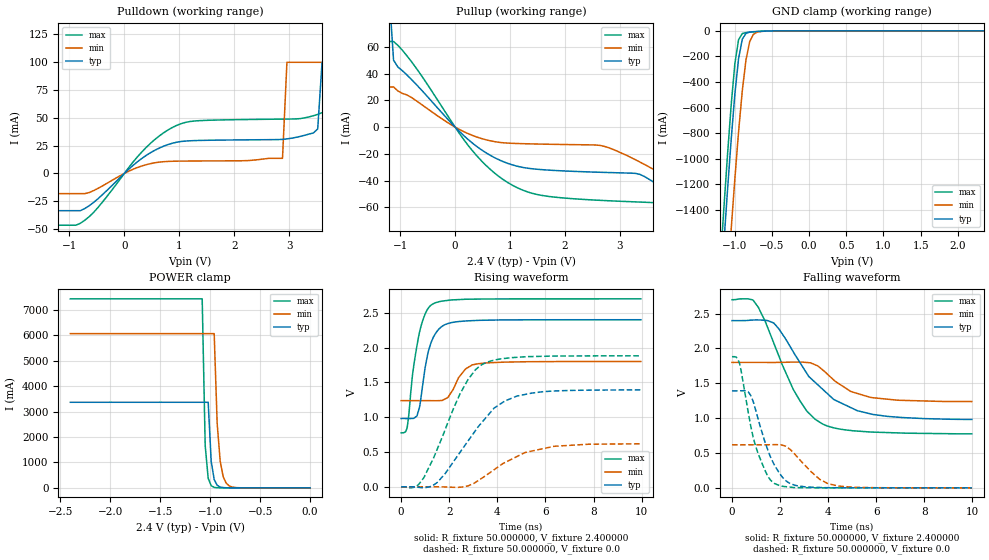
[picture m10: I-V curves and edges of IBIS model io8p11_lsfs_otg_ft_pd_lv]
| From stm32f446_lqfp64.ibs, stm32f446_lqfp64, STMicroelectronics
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|   Model io8p11_lsfs_otg_ft_pd_lv
[Model]  io8p11_lsfs_otg_ft_pd_lv
Model_type I/O
Polarity   Non-Inverting
Enable   Active-Low
Vinl =   0.720000V
Vinh =   1.680000V
Vmeas =  1.200000V
Cref =   30.000000pF
Rref =   100.000000M
Vref =   0.0V
C_comp   7.971100pF   7.737700pF   8.264100pF
[Temperature Range]   25.000000   0.125000k   -40.000000
[Pullup Reference]   2.400000V   1.800000V   2.700000V
[Pulldown Reference]   0.0V   0.0V   0.0V
[POWER Clamp Reference]   2.400000V   1.800000V   2.700000V
[GND Clamp Reference]   0.0V   0.0V   0.0V
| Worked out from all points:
|   slope of the pulldown table from 0 to 0.36 V, typ, clamps not added: 24.1 ohm
|   slope of the pullup table from 0 to 0.36 V, typ, clamps not added: 26.8 ohm
|   GND clamp passes 1 mA (typ) near -0.52 V on its own axis
|   POWER clamp passes 1 mA (typ) near -0.81 V on its own axis
|   rising waveform, R_fixture 50.000000, V_fixture 2.400000: 20-80 % time 481ps typ, 591ps min, 481ps max; typ from 0.981 V to 2.4 V
|   rising waveform, R_fixture 50.000000, V_fixture 0.0: 20-80 % time 1.81ns typ, 1.82ns min, 1.43ns max; typ from 0 V to 1.39 V
|   falling waveform, R_fixture 50.000000, V_fixture 2.400000: 20-80 % time 1.98ns typ, 1.46ns min, 1.53ns max; typ from 2.4 V to 0.981 V
|   falling waveform, R_fixture 50.000000, V_fixture 0.0: 20-80 % time 862ps typ, 1.06ns min, 753ps max; typ from 1.39 V to 0 V
[Pulldown]
|Voltage   I(typ)   I(min)   I(max)
-2.4V     -33.44mA   -18.12mA   -46.52mA
-800mV    -33.44mA   -18.12mA   -44.78mA
1.04V     28.81mA    11.14mA    44.91mA
2.88V     30.7mA     13.64mA    48.89mA
2.96V     31.11mA    100mA      48.94mA
3.52V     40mA       100mA      53.15mA
3.6V      100mA      100mA      54.65mA
3.92V     100mA      100mA      60mA
4V        100mA      100mA      100mA
4.4V      100mA      100mA      100mA
4.48V     100mA      100mA      1A
4.8V      100mA      100mA      1A
[Pullup]
|Voltage   I(typ)   I(min)   I(max)
-2.4V     100mA      1A         100mA
-1.6V     100mA      1A         100mA
-1.52V    100mA      30mA       100mA
-1.28V    100mA      30mA       100mA
-1.2V     100mA      30mA       64mA
-1.12V    50mA       30mA       64mA
-1.04V    44.9mA     27mA       61.1mA
320mV     -12.14mA   -6.322mA   -17.91mA
1.12V     -29.18mA   -12.28mA   -45.16mA
3.36V     -35.34mA   -26.1mA    -56.1mA
4V        -52.4mA    -42mA      -67mA
4.72V     -74mA      -42mA      -94.8mA
[GND_clamp]
|Voltage   I(typ)   I(min)   I(max)
-2.4V     -9.765A    -9.942A    -9.572A
-1.2V     -2.124A    -2.851A    -1.855A
-1.15V    -1.682A    -2.408A    -1.408A
-1.1V     -1.256A    -1.975A    -979.8mA
-1.05V    -854.9mA   -1.557A    -584.5mA
-1V       -496.5mA   -1.158A    -257.5mA
-950mV    -217.7mA   -789.7mA   -69.53mA
-900mV    -65.58mA   -469.8mA   -21.52mA
-850mV    -19.65mA   -226.4mA   -13.58mA
-800mV    -9.766mA   -84.22mA   -10.49mA
-700mV    -4.935mA   -9.894mA   -5.821mA
2.35V     58.09uA    37.92uA    67.25uA
[POWER_clamp]
|Voltage   I(typ)   I(min)   I(max)
-2.4V     3.365A     6.064A     7.43A
-1.08V    3.365A     6.064A     7.43A
-1.05V    3.365A     6.064A     1.669A
-1.02V    3.365A     6.064A     375mA
-990mV    1.047A     6.064A     84.24mA
-960mV    325.6mA    6.064A     18.93mA
-930mV    101.3mA    2.529A     4.252mA
-900mV    31.51mA    1.055A     955.2uA
-870mV    9.804mA    440.1mA    214.6uA
-840mV    3.05mA     183.6mA    74uA
-720mV    28.58uA    5.557mA    74uA
0V        0A         0A         0A
[Ramp]
| variable   typ   min   max
dV/dt_r  0.83394/1.81035n   0.36905/1.81039n   1.12782/1.42718n
dV/dt_f  0.84823/1.98187n   0.33528/1.46376n   1.15315/1.52996n
R_load = 50.000000
[Rising Waveform]
R_fixture= 50.000000
V_fixture= 2.400000
V_fixture_min= 1.800000
V_fixture_max= 2.700000
|time   V(typ)   V(min)   V(max)
0s        980.6mV    1.238V     774.6mV
260.3ps   980.3mV    1.238V     872.3mV
480.5ps   982.3mV    1.238V     1.63V
660.7ps   1.021V     1.238V     2.032V
780.8ps   1.173V     1.238V     2.244V
981ps     1.673V     1.238V     2.467V
1.321ns   2.134V     1.236V     2.626V
1.942ns   2.344V     1.282V     2.677V
2.963ns   2.386V     1.751V     2.695V
9.97ns    2.399V     1.799V     2.699V
[Rising Waveform]
R_fixture= 50.000000
V_fixture= 0.0
V_fixture_min= 0.0
V_fixture_max= 0.0
|time   V(typ)   V(min)   V(max)
0s        15.64uV    7.253uV    -171.9uV
600.6ps   -3.263mV   4.316uV    1.327mV
940.9ps   -12.43mV   24.09uV    129.4mV
1.502ns   61.98mV    -112.4uV   541.2mV
2.462ns   502.5mV    -5.528mV   1.344V
3.083ns   804.2mV    61.71mV    1.678V
3.383ns   935.4mV    130mV      1.759V
4.304ns   1.23V      346.5mV    1.843V
5.405ns   1.344V     511.2mV    1.87V
9.97ns    1.391V     617.3mV    1.881V
[Falling Waveform]
R_fixture= 50.000000
V_fixture= 2.400000
V_fixture_min= 1.800000
V_fixture_max= 2.700000
|time   V(typ)   V(min)   V(max)
0s        2.399V     1.799V     2.699V
880.9ps   2.408V     1.799V     2.691V
1.361ns   2.403V     1.799V     2.403V
1.742ns   2.363V     1.799V     2.074V
2.823ns   1.799V     1.804V     1.251V
3.203ns   1.594V     1.795V     1.069V
3.764ns   1.416V     1.693V     916.6mV
4.925ns   1.154V     1.386V     822.8mV
5.766ns   1.061V     1.297V     800.6mV
9.97ns    980.6mV    1.238V     774.6mV
[Falling Waveform]
R_fixture= 50.000000
V_fixture= 0.0
V_fixture_min= 0.0
V_fixture_max= 0.0
|time   V(typ)   V(min)   V(max)
0s        1.391V     617.3mV    1.881V
320.3ps   1.392V     617.3mV    1.779V
780.8ps   1.324V     617.2mV    885.8mV
981ps     1.121V     617mV      600.1mV
1.221ns   828.3mV    617mV      375.7mV
1.762ns   329.9mV    619.7mV    62.67mV
2.482ns   52.87mV    529.6mV    7.515mV
3.644ns   5.078mV    123.1mV    226.5uV
4.424ns   1.454mV    26.19mV    238.4uV
9.97ns    15.64uV    7.253uV    -171.9uV
